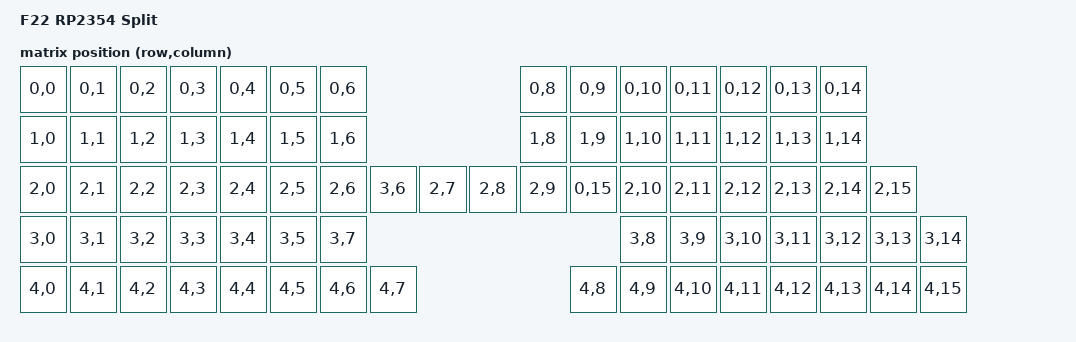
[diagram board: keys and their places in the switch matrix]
#include <freq.h>
#include <dt-bindings/zmk/hid_indicators.h>
#include <dt-bindings/zmk/matrix_transform.h>

#include "rp2354_split-layouts.dtsi"
#include "rp2354_split-pinctrl.dtsi"

&physical_layout0 {
    kscan = <&kscan0>;
    transform = <&matrix_transform0>;
};

/ {
    model = "F22 RP2354 Split";
    compatible = "f22,rp2354-split";

    chosen {
        zephyr,sram = &sram0;
        zephyr,flash = &flash0;
        zephyr,flash-controller = &qmi;
        zephyr,code-partition = &code_partition;
        zmk,kscan = &kscan0;
        zmk,physical-layout = &physical_layout0;
    };

    aliases {
        led0 = &led0;
        watchdog0 = &wdt0;
    };

    leds {
        compatible = "gpio-leds";

        led0: caps_lock_led: led_0 {
            gpios = <&gpio0 31 GPIO_ACTIVE_HIGH>;
            label = "Caps Lock";
        };
    };

    wired_split {
        compatible = "zmk,wired-split";
        device = <&uart0>;
    };

    matrix_transform0: keymap_transform_0 {
        compatible = "zmk,matrix-transform";
        columns = <16>;
        rows = <5>;
        map = <
            RC(0,0) RC(0,1) RC(0,2) RC(0,3) RC(0,4) RC(0,5) RC(0,6)                         RC(0,8)  RC(0,9)  RC(0,10) RC(0,11) RC(0,12) RC(0,13) RC(0,14)
            RC(1,0) RC(1,1) RC(1,2) RC(1,3) RC(1,4) RC(1,5) RC(1,6)                         RC(1,8)  RC(1,9)  RC(1,10) RC(1,11) RC(1,12) RC(1,13) RC(1,14)
            RC(2,0) RC(2,1) RC(2,2) RC(2,3) RC(2,4) RC(2,5) RC(2,6) RC(3,6) RC(2,7) RC(2,8) RC(2,9) RC(0,15) RC(2,10) RC(2,11) RC(2,12) RC(2,13) RC(2,14) RC(2,15)
            RC(3,0) RC(3,1) RC(3,2) RC(3,3) RC(3,4) RC(3,5)                 RC(3,7) RC(3,8)                         RC(3,9)  RC(3,10) RC(3,11) RC(3,12) RC(3,13) RC(3,14)
            RC(4,0) RC(4,1) RC(4,2) RC(4,3) RC(4,4)         RC(4,5) RC(4,6) RC(4,7) RC(4,8) RC(4,9) RC(4,10)                 RC(4,11) RC(4,12) RC(4,13) RC(4,14) RC(4,15)
        >;
    };
};

&flash0 {
    reg = <0x10000000 DT_SIZE_M(2)>;
    status = "okay";

    partitions {
        compatible = "fixed-partitions";
        #address-cells = <1>;
        #size-cells = <1>;

        code_partition: partition@100 {
            label = "code";
            reg = <0x100 (DT_SIZE_M(2) - 0x100 - DT_SIZE_K(512))>;
        };

        storage_partition: partition@180000 {
            label = "storage";
            reg = <0x180000 DT_SIZE_K(512)>;
        };
    };
};

&uart0 {
    current-speed = <115200>;
    status = "okay";
    pinctrl-0 = <&uart0_default>;
    pinctrl-names = "default";
};

&gpio0 {
    status = "okay";
};

&timer0 {
    status = "okay";
};

&wdt0 {
    status = "okay";
};

zephyr_udc0: &usbd {
    status = "okay";
};
